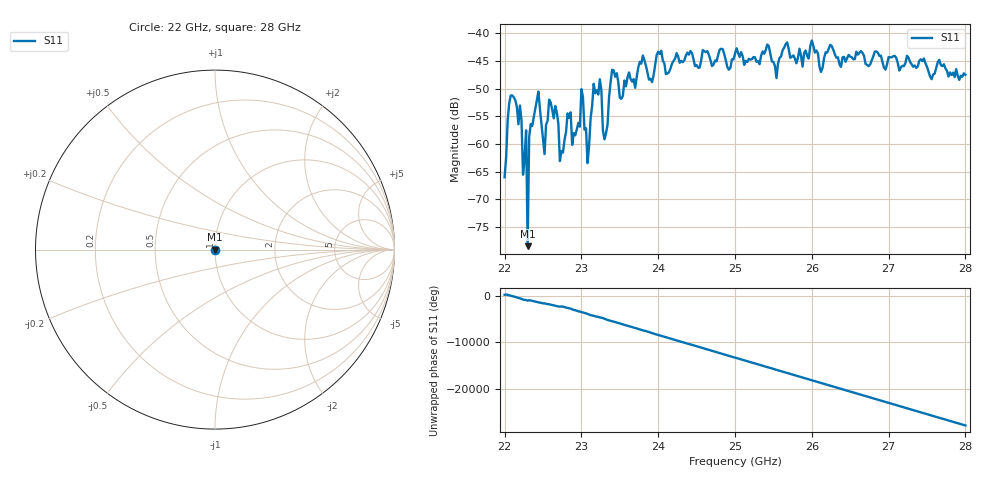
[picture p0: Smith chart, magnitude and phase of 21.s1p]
#  HZ  S  RI  R  50.00
! Rohde & Schwarz ZVA40 4Ports - Version 3.90 - 1145.1110k42 SN: 100403
! Date: 2023-10-04 06:01:31
! Measurement: S12
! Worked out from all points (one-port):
!   301 points, 22 GHz to 28 GHz, reference 50 ohm
!   lowest |S11| = -78.5 dB at 22.3 GHz (marker M1), VSWR 1.00, Z = 50 - j0.000365 ohm
!   |S11| at or under -10 dB: start of sweep to end of sweep
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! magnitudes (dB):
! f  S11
! 22 GHz  -66.0
! 22.08 GHz  -51.2
! 22.2 GHz  -53.0
! 22.24 GHz  -65.6
! 22.28 GHz  -57.5
! 22.3 GHz  -78.5
! 22.32 GHz  -58.7
! 22.44 GHz  -50.5
! 22.52 GHz  -61.8
! 22.58 GHz  -52.0
! 22.76 GHz  -61.6
! 22.82 GHz  -54.5
! 22.88 GHz  -60.2
! 22.98 GHz  -56.9
! 23 GHz  -50.1
! 23.08 GHz  -63.5
! 23.16 GHz  -49.1
! 23.24 GHz  -48.3
! 23.3 GHz  -59.2
! 23.4 GHz  -46.6
! 23.5 GHz  -51.6
! 23.8 GHz  -44.0
! 24.26 GHz  -44.2
! 25 GHz  -43.7
! 25.76 GHz  -44.0
! 26.5 GHz  -44.2
! 27.26 GHz  -44.4
! 28 GHz  -47.5
